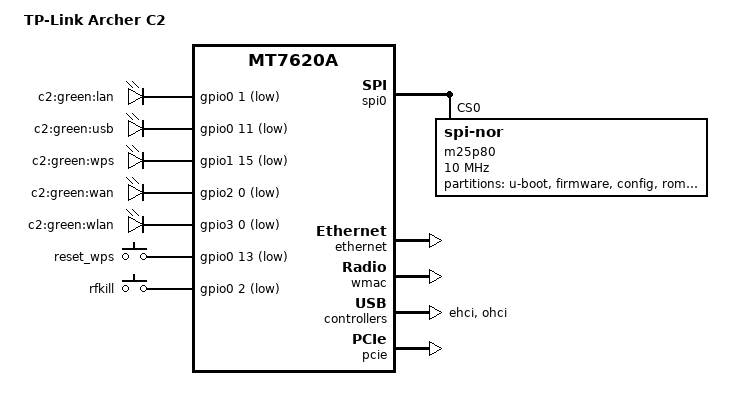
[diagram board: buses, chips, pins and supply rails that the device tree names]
/dts-v1/;

/include/ "mt7620a.dtsi"

/ {
	compatible = "ralink,mt7620a-soc";
	model = "TP-Link Archer C2";

	chosen {
		bootargs = "console=ttyS0,115200";
	};


	pinctrl {
		state_default: pinctrl0 {
			gpio {
				ralink,group = "i2c", "uartf", "wled", "nd_sd", "ephy", "spi refclk";
				ralink,function = "gpio";
			};
		};
	};

	gpio-leds { 
		compatible = "gpio-leds";

		lan {
			label = "c2:green:lan";
			gpios = <&gpio0 1 1>;
		};
		usb {
			label = "c2:green:usb";
			gpios = <&gpio0 11 1>;
		};
		wps {
			label = "c2:green:wps";
			gpios = <&gpio1 15 1>;
		};
		wan {
			label = "c2:green:wan";
			gpios = <&gpio2 0 1>;
		};
		wlan {
			label = "c2:green:wlan";
			gpios = <&gpio3 0 1>;
		};
	};

	gpio-keys {
		compatible = "gpio-keys";

		reset_wps { 
			label = "reset_wps"; 
			gpios = <&gpio0 13 1>; 
			linux,code = <0x198>; 
		}; 

		rfkill { 
			label = "rfkill"; 
			gpios = <&gpio0 2 1>; 
			linux,code = <0xf7>; 
		}; 
	};

	rtl8367rb {
		compatible = "realtek,rtl8367b", "rtl8367b";
		cpu_port = <6>;
		realtek,extif1 = <1 0 1 1 1 1 1 1 2>;
		mii-bus = <&mdio0>;
	};
};

&spi0 {
	status = "okay";

	m25p80@0 {
		#address-cells = <1>;
		#size-cells = <1>;
		compatible = "jedec,spi-nor";
		reg = <0>;
		spi-max-frequency = <10000000>;

		partition@0 {
			label = "u-boot";
			reg = <0x0 0x20000>;
			read-only;
		};

		partition@20000 {
			label = "firmware";
			reg = <0x20000 0x7a0000>;
		};

		partition@7c0000 {
			label = "config";
			reg = <0x7c0000 0x10000>;
		};

		rom: partition@7d0000 {
			label = "rom";
			reg = <0x7d0000 0x10000>;
		};

		partition@7e0000 {
			label = "romfile";
			reg = <0x7e0000 0x10000>;
		};

		radio: partition@7f0000 {
			label = "radio";
			reg = <0x7f0000 0x10000>;
		};
	};
};

&ethernet {
	status = "okay";
	mtd-mac-address = <&rom 0xf100>;
	pinctrl-names = "default";
	pinctrl-0 = <&rgmii1_pins &rgmii2_pins &mdio_pins>;

	port@5 {
		status = "okay";
		mediatek,fixed-link = <1000 1 1 1>;
		phy-mode = "rgmii";
	};

	mdio0: mdio-bus {
		status = "okay";
	};
};


&gpio1 {
	status = "okay";
};

&gpio2 {
	status = "okay";
};

&gpio3 {
	status = "okay";
};

&wmac {
	ralink,mtd-eeprom = <&radio 0>;
	mtd-mac-address = <&rom 0xf100>;
};

&ehci {
	status = "okay";
};

&ohci {
	status = "okay";
};

&pcie {
	status = "okay";

	pcie-bridge {
		mt76@0,0 {
			reg = <0x0000 0 0 0 0>;
			device_type = "pci";
			mediatek,mtd-eeprom = <&radio 32768>;
		};
	};
};
